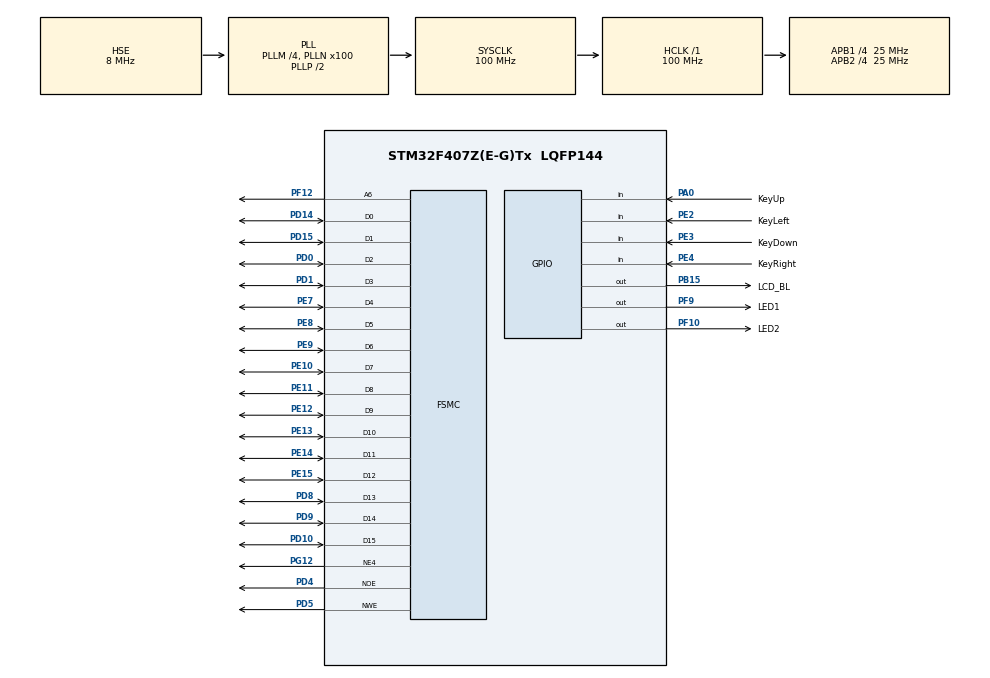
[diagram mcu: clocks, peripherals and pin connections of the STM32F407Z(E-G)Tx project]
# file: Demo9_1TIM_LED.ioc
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FSMC.AccessMode4=FSMC_ACCESS_MODE_A
FSMC.AddressSetupTime4=2
FSMC.BusTurnAroundDuration4=0
FSMC.DataSetupTime4=16
FSMC.ExtendedAccessMode4=FSMC_ACCESS_MODE_A
FSMC.ExtendedAddressSetupTime4=4
FSMC.ExtendedBusTurnAroundDuration4=0
FSMC.ExtendedDataSetupTime4=9
FSMC.ExtendedMode4=FSMC_EXTENDED_MODE_ENABLE
FSMC.MemoryType4=FSMC_MEMORY_TYPE_SRAM
FSMC.NSBank4=FSMC_NORSRAM_BANK4
FSMC.WriteOperation4=FSMC_WRITE_OPERATION_ENABLE
Mcu.Family=STM32F4
Mcu.Name=STM32F407Z(E-G)Tx
Mcu.Package=LQFP144
NVIC.PriorityGroup=NVIC_PRIORITYGROUP_2
NVIC.TIM6_DAC_IRQn=true\:1\:0\:true\:false\:true\:true\:true\:true
NVIC.TIM7_IRQn=true\:1\:0\:true\:false\:true\:true\:true\:true
PA0-WKUP.GPIO_Label=KeyUp
PA0-WKUP.GPIO_PuPd=GPIO_PULLDOWN
PA0-WKUP.Signal=GPIO_Input
PA13.Mode=Serial_Wire
PA13.Signal=SYS_JTMS-SWDIO
PA14.Mode=Serial_Wire
PA14.Signal=SYS_JTCK-SWCLK
PB15.GPIO_Label=LCD_BL
PB15.PinState=GPIO_PIN_RESET
PB15.Signal=GPIO_Output
PD0.Signal=FSMC_D2_DA2
PD1.Signal=FSMC_D3_DA3
PD10.Signal=FSMC_D15_DA15
PD14.Signal=FSMC_D0_DA0
PD15.Signal=FSMC_D1_DA1
PD4.Signal=FSMC_NOE
PD5.Signal=FSMC_NWE
PD8.Signal=FSMC_D13_DA13
PD9.Signal=FSMC_D14_DA14
PE10.Signal=FSMC_D7_DA7
PE11.Signal=FSMC_D8_DA8
PE12.Signal=FSMC_D9_DA9
PE13.Signal=FSMC_D10_DA10
PE14.Signal=FSMC_D11_DA11
PE15.Signal=FSMC_D12_DA12
PE2.GPIO_Label=KeyLeft
PE2.GPIO_PuPd=GPIO_PULLUP
PE2.Signal=GPIO_Input
PE3.GPIO_Label=KeyDown
PE3.GPIO_PuPd=GPIO_PULLUP
PE3.Signal=GPIO_Input
PE4.GPIO_Label=KeyRight
PE4.GPIO_PuPd=GPIO_PULLUP
PE4.Signal=GPIO_Input
PE7.Signal=FSMC_D4_DA4
PE8.Signal=FSMC_D5_DA5
PE9.Signal=FSMC_D6_DA6
PF10.GPIO_Label=LED2
PF10.Signal=GPIO_Output
PF12.Signal=FSMC_A6
PF9.GPIO_Label=LED1
PF9.Signal=GPIO_Output
PG12.Mode=NorPsramChipSelect4_4
PG12.Signal=FSMC_NE4
PH0-OSC_IN.Mode=HSE-External-Oscillator
PH0-OSC_IN.Signal=RCC_OSC_IN
PH1-OSC_OUT.Mode=HSE-External-Oscillator
PH1-OSC_OUT.Signal=RCC_OSC_OUT
ProjectManager.HeapSize=0x200
ProjectManager.StackSize=0x400
ProjectManager.TargetToolchain=STM32CubeIDE
RCC.48MHZClocksFreq_Value=50000000
RCC.AHBFreq_Value=100000000
RCC.APB1CLKDivider=RCC_HCLK_DIV4
RCC.APB1Freq_Value=25000000
RCC.APB1TimFreq_Value=50000000
RCC.APB2CLKDivider=RCC_HCLK_DIV4
RCC.APB2Freq_Value=25000000
RCC.APB2TimFreq_Value=50000000
RCC.CortexFreq_Value=100000000
RCC.FLatency=FLASH_LATENCY_3
RCC.HCLKFreq_Value=100000000
RCC.HSE_VALUE=8000000
RCC.HSI_VALUE=16000000
RCC.LSE_VALUE=32768
RCC.PLLM=4
RCC.PLLN=100
RCC.PLLSourceVirtual=RCC_PLLSOURCE_HSE
RCC.SYSCLKFreq_VALUE=100000000
RCC.SYSCLKSource=RCC_SYSCLKSOURCE_PLLCLK
RCC.VCOOutputFreq_Value=200000000
SH.FSMC_A6.0=FSMC_A6,A6_4
SH.FSMC_D0_DA0.0=FSMC_D0,16b-d4
SH.FSMC_D10_DA10.0=FSMC_D10,16b-d4
SH.FSMC_D11_DA11.0=FSMC_D11,16b-d4
SH.FSMC_D12_DA12.0=FSMC_D12,16b-d4
SH.FSMC_D13_DA13.0=FSMC_D13,16b-d4
SH.FSMC_D14_DA14.0=FSMC_D14,16b-d4
SH.FSMC_D15_DA15.0=FSMC_D15,16b-d4
SH.FSMC_D1_DA1.0=FSMC_D1,16b-d4
SH.FSMC_D2_DA2.0=FSMC_D2,16b-d4
SH.FSMC_D3_DA3.0=FSMC_D3,16b-d4
SH.FSMC_D4_DA4.0=FSMC_D4,16b-d4
SH.FSMC_D5_DA5.0=FSMC_D5,16b-d4
SH.FSMC_D6_DA6.0=FSMC_D6,16b-d4
SH.FSMC_D7_DA7.0=FSMC_D7,16b-d4
SH.FSMC_D8_DA8.0=FSMC_D8,16b-d4
SH.FSMC_D9_DA9.0=FSMC_D9,16b-d4
SH.FSMC_NOE.0=FSMC_NOE,Lcd4
SH.FSMC_NWE.0=FSMC_NWE,Lcd4
TIM6.Period=499
TIM6.Prescaler=49999
TIM7.Period=1999
TIM7.Prescaler=49999
VP_TIM6_VS_ClockSourceINT.Mode=Enable_Timer
VP_TIM7_VS_ClockSourceINT.Mode=Enable_Timer
VP_TIM7_VS_OPM.Mode=OPM_bit
board=custom

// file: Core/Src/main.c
/* USER CODE BEGIN Header */
/**
 ******************************************************************************
 * @file           : main.c
 * @brief          : Main program body
 ******************************************************************************
 * @attention
 *
 * Copyright (c) 2022 STMicroelectronics.
 * All rights reserved.
 *
 * This software is licensed under terms that can be found in the LICENSE file
 * in the root directory of this software component.
 * If no LICENSE file comes with this software, it is provided AS-IS.
 *
 ******************************************************************************
 */
/* USER CODE END Header */
#include "main.h"
#include "tim.h"
#include "gpio.h"
#include "fsmc.h"

/* USER CODE BEGIN Includes */
#include "keyled.h"
#include "lcd.h"

/* USER CODE END Includes */

void SystemClock_Config(void);

int main(void) {

	/* MCU Configuration--------------------------------------------------------*/

	/* Reset of all peripherals, Initializes the Flash interface and the Systick. */
	HAL_Init();

	/* Configure the system clock */
	SystemClock_Config();

	/* Initialize all configured peripherals */
	MX_GPIO_Init();
	MX_FSMC_Init();
	MX_TIM6_Init();
	MX_TIM7_Init();
	/* USER CODE BEGIN 2 */
	lcd_init();
	lcd_show_str(0, 0,   16, "Demo9_1: Basic Timer          ", RED);
	lcd_show_str(0, 20,  16, "TIM6 work in continuous mode  ", RED);
	lcd_show_str(0, 40,  16, "Toggle LED1 by TIM6 each 500ms", RED);
	lcd_show_str(0, 60,  16, "TIM7 work in one pulse mode   ", RED);
	lcd_show_str(0, 80,  16, "Press KeyRight to start TIM7  ", RED);
	lcd_show_str(0, 100, 16, "Toggle LED2 by TIM7 after 2sec", RED);

	LED1_OFF();
	LED2_OFF();
	HAL_TIM_Base_Start_IT(&htim6);
	/* USER CODE END 2 */

	/* Infinite loop */
	/* USER CODE BEGIN WHILE */
	while (1) {
		KEYS curKey = ScanPressedKey(KEY_WAIT_ALWAYS);
		if (curKey == KEY_RIGHT) {
			LED2_ON();
			HAL_TIM_Base_Start_IT(&htim7);
			HAL_Delay(300);
		}
		/* USER CODE END WHILE */

	}
}

void SystemClock_Config(void) {
	RCC_OscInitTypeDef RCC_OscInitStruct = { 0 };
	RCC_ClkInitTypeDef RCC_ClkInitStruct = { 0 };

	/** Configure the main internal regulator output voltage
	 */
	__HAL_RCC_PWR_CLK_ENABLE();
	__HAL_PWR_VOLTAGESCALING_CONFIG(PWR_REGULATOR_VOLTAGE_SCALE1);

	/** Initializes the RCC Oscillators according to the specified parameters
	 * in the RCC_OscInitTypeDef structure.
	 */
	RCC_OscInitStruct.OscillatorType = RCC_OSCILLATORTYPE_HSE;
	RCC_OscInitStruct.HSEState = RCC_HSE_ON;
	RCC_OscInitStruct.PLL.PLLState = RCC_PLL_ON;
	RCC_OscInitStruct.PLL.PLLSource = RCC_PLLSOURCE_HSE;
	RCC_OscInitStruct.PLL.PLLM = 4;
	RCC_OscInitStruct.PLL.PLLN = 100;
	RCC_OscInitStruct.PLL.PLLP = RCC_PLLP_DIV2;
	RCC_OscInitStruct.PLL.PLLQ = 4;
	if (HAL_RCC_OscConfig(&RCC_OscInitStruct) != HAL_OK) {
		Error_Handler();
	}

	/** Initializes the CPU, AHB and APB buses clocks
	 */
	RCC_ClkInitStruct.ClockType = RCC_CLOCKTYPE_HCLK | RCC_CLOCKTYPE_SYSCLK
			| RCC_CLOCKTYPE_PCLK1 | RCC_CLOCKTYPE_PCLK2;
	RCC_ClkInitStruct.SYSCLKSource = RCC_SYSCLKSOURCE_PLLCLK;
	RCC_ClkInitStruct.AHBCLKDivider = RCC_SYSCLK_DIV1;
	RCC_ClkInitStruct.APB1CLKDivider = RCC_HCLK_DIV4;
	RCC_ClkInitStruct.APB2CLKDivider = RCC_HCLK_DIV4;

	if (HAL_RCC_ClockConfig(&RCC_ClkInitStruct, FLASH_LATENCY_3) != HAL_OK) {
		Error_Handler();
	}
}

void Error_Handler(void) {
	__disable_irq();
	while (1) {
	}
}
